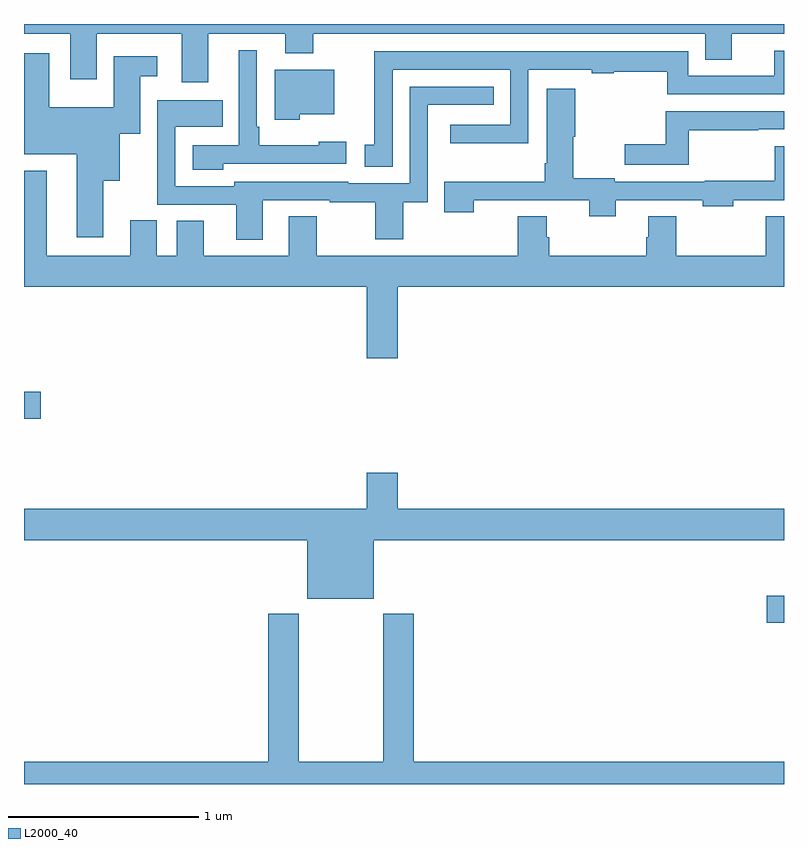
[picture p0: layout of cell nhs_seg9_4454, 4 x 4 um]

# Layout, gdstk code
import gdstk
lib = gdstk.Library(unit=1e-6, precision=1e-09)
def R(c, l, rs):  # rectangles x0, y0, x1, y1
    for r in rs: c.add(gdstk.rectangle(r[:2], r[2:], *l))
def P(c, l, *ps):  # polygons
    for p in ps: c.add(gdstk.Polygon(p, *l))
L2000_40 = (2000, 40)

nhs_seg9_4454 = lib.new_cell('nhs_seg9_4454')
R(nhs_seg9_4454, L2000_40, [(370.908,1165.349,371,1165.491), (367,1166.422,367.087,1166.564)])
P(nhs_seg9_4454, L2000_40, [(367.969,1168.448),(368.375,1168.448),(368.375,1168.346),(368.523,1168.346),(368.523,1168.448),(370.586,1168.448),(370.586,1168.312),(370.726,1168.312),(370.726,1168.448),(371,1168.448),(371,1168.5),(367,1168.5),(367,1168.448),(367.244,1168.448),(367.244,1168.209),(367.384,1168.209),(367.384,1168.448),(367.829,1168.448),(367.829,1168.194),(367.969,1168.194)],
  [(368.048,1167.765),(368.695,1167.765),(368.695,1167.88),(368.55,1167.88),(368.55,1167.862),(368.239,1167.862),(368.239,1167.958),(368.226,1167.958),(368.226,1168.363),(368.13,1168.363),(368.13,1167.861),(367.887,1167.861),(367.887,1167.734),(368.048,1167.734)],
  [(368.94,1168.26),(369.558,1168.26),(369.558,1167.969),(369.243,1167.969),(369.243,1167.872),(369.654,1167.872),(369.654,1168.26),(369.988,1168.26),(369.988,1168.24),(370.104,1168.24),(370.104,1168.248),(370.385,1168.248),(370.385,1168.131),(371,1168.131),(371,1168.359),(370.948,1168.359),(370.948,1168.227),(370.497,1168.227),(370.497,1168.356),(368.843,1168.356),(368.843,1167.865),(368.793,1167.865),(368.793,1167.748),(368.94,1167.748)],
  [(367.417,1167.674),(367.504,1167.674),(367.504,1167.923),(367.612,1167.923),(367.612,1168.226),(367.702,1168.226),(367.702,1168.33),(367.472,1168.33),(367.472,1168.063),(367.132,1168.063),(367.132,1168.345),(367,1168.345),(367,1167.815),(367.277,1167.815),(367.277,1167.378),(367.417,1167.378)],
  [(368.451,1168.025),(368.632,1168.025),(368.632,1168.258),(368.321,1168.258),(368.321,1167.995),(368.451,1167.995)],
  [(368.257,1167.573),(368.61,1167.573),(368.61,1167.562),(368.848,1167.562),(368.848,1167.366),(368.995,1167.366),(368.995,1167.562),(369.126,1167.562),(369.126,1168.074),(369.473,1168.074),(369.473,1168.17),(369.03,1168.17),(369.03,1167.663),(368.706,1167.663),(368.706,1167.669),(368.106,1167.669),(368.106,1167.645),(367.797,1167.645),(367.797,1167.959),(368.045,1167.959),(368.045,1168.099),(367.7,1168.099),(367.7,1167.549),(368.117,1167.549),(368.117,1167.365),(368.257,1167.365)],
  [(370.114,1167.573),(370.573,1167.573),(370.573,1167.542),(370.733,1167.542),(370.733,1167.573),(371,1167.573),(371,1167.856),(370.95,1167.856),(370.95,1167.674),(370.584,1167.674),(370.584,1167.669),(370.11,1167.669),(370.11,1167.689),(369.892,1167.689),(369.892,1167.906),(369.9,1167.906),(369.9,1168.159),(369.752,1168.159),(369.752,1167.766),(369.74,1167.766),(369.74,1167.671),(369.319,1167.671),(369.319,1167.669),(369.211,1167.669),(369.211,1167.51),(369.368,1167.51),(369.368,1167.573),(369.974,1167.573),(369.974,1167.488),(370.114,1167.488)],
  [(370.498,1167.94),(370.865,1167.94),(370.865,1167.945),(371,1167.945),(371,1168.041),(370.377,1168.041),(370.377,1167.868),(370.161,1167.868),(370.161,1167.759),(370.498,1167.759)],
  [(368.968,1167.116),(371,1167.116),(371,1167.488),(370.903,1167.488),(370.903,1167.28),(370.434,1167.28),(370.434,1167.488),(370.286,1167.488),(370.286,1167.378),(370.274,1167.378),(370.274,1167.28),(369.764,1167.28),(369.764,1167.378),(369.751,1167.378),(369.751,1167.488),(369.599,1167.488),(369.599,1167.28),(368.541,1167.28),(368.541,1167.487),(368.393,1167.487),(368.393,1167.28),(367.945,1167.28),(367.945,1167.464),(367.805,1167.464),(367.805,1167.28),(367.698,1167.28),(367.698,1167.468),(367.559,1167.468),(367.559,1167.28),(367.12,1167.28),(367.12,1167.727),(367,1167.727),(367,1167.116),(368.804,1167.116),(368.804,1166.742),(368.968,1166.742)],
  [(368.842,1165.784),(371,1165.784),(371,1165.948),(368.968,1165.948),(368.968,1166.137),(368.804,1166.137),(368.804,1165.948),(367,1165.948),(367,1165.784),(368.492,1165.784),(368.492,1165.475),(368.842,1165.475)],
  [(371,1164.616),(369.05,1164.616),(369.05,1165.396),(368.89,1165.396),(368.89,1164.616),(368.445,1164.616),(368.445,1165.396),(368.285,1165.396),(368.285,1164.616),(367,1164.616),(367,1164.5),(371,1164.5)])

lib.write_gds('nhs_seg9_4454.gds')
